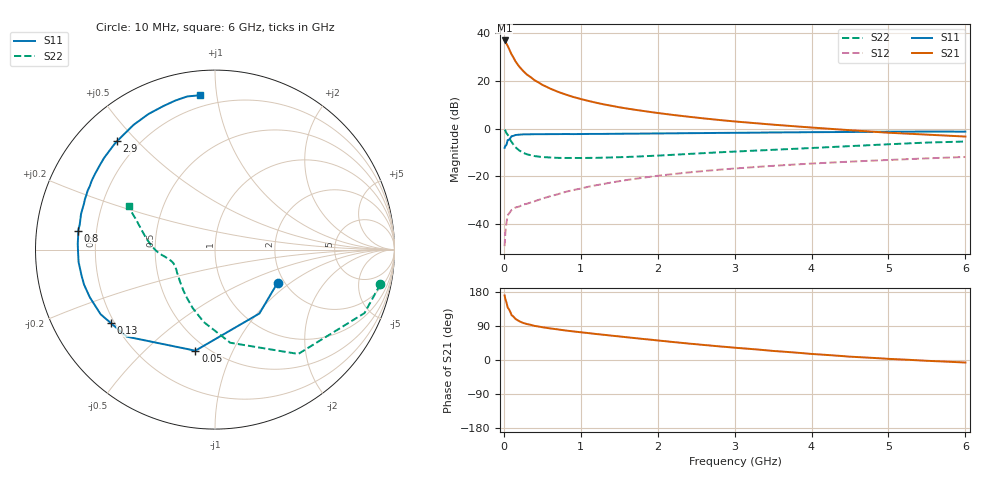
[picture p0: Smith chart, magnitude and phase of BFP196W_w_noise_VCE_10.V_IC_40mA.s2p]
! Infineon Technologies  Discrete & RF Semiconductors
! BFP196W
! VCE =  10. V,  IC =  40 mA
! Common Emitter S-Parameters:  Jan 2017
# GHz  S  MA  R  50
!  f  S11  S21  S12  S22
! GHz  MAG  ANG  MAG  ANG  MAG  ANG  MAG  ANG
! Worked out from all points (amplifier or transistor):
!   77 points, 10 MHz to 6 GHz, reference 50 ohm
!   highest |S21| = 37.0 dB at 10 MHz (marker M1)
!   |S21| within 3 dB of that: start of sweep to 60.37 MHz
!   unconditionally stable (mu >= 1): 812.3 MHz to 3.222 GHz
!   at 130 MHz: K = 0.35, MSG = 31.5 dB, |S12| = -33.6 dB
!   at 2.2 GHz: K = 1.04, MAG = 11.1 dB, |S12| = -19.1 dB
!   at 6 GHz: K = 0.92, MSG = 4.3 dB, |S12| = -11.9 dB
!   lowest NFmin = 1.24 dB at 450 MHz
!   S11 on the Smith chart (normalised r, x): 10 MHz: 1.84, -0.81; 50 MHz: 0.43, -0.73; 130 MHz: 0.19, -0.31; 800 MHz: 0.13, +0.07; 2.9 GHz: 0.12, +0.44; 6 GHz: 0.13, +0.90
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0.01  0.3945 -27.9  70.85 170.5  0.0034 75.7  0.9415 -11.8
0.02  0.4336 -55.2  67.95 160.7  0.0065 70.7  0.9048 -23.0
0.05  0.5738 -101.0  54.33 138.7  0.015 54.0  0.7439 -51.4
0.1  0.6908 -135.4  36.14 118.5  0.0195 43.6  0.5258 -80.7
0.13  0.7096 -144.7  29.95 113.4  0.021 40.8  0.4492 -90.5
0.15  0.732 -150.5  26.01 108.6  0.022 39.1  0.4077 -99.0
0.2  0.7464 -159.1  20.05 102.3  0.0231 39.6  0.3481 -111.0
0.25  0.7552 -165.0  16.26 97.9  0.0255 39.6  0.3111 -120.2
0.3  0.7575 -169.0  13.63 94.9  0.0264 42.5  0.2891 -127.3
0.4  0.7632 -174.8  10.35 90.0  0.0298 46.6  0.2648 -137.3
0.5  0.7631 -179.0  8.301 86.5  0.0338 50.1  0.2529 -143.9
0.6  0.7654 177.6  6.946 83.4  0.0379 51.9  0.2476 -148.6
0.7  0.7658 174.9  5.949 80.8  0.0418 55.1  0.2428 -152.3
0.8  0.7689 172.1  5.217 77.9  0.0468 56.8  0.2419 -154.7
1.1  0.7722 165.2  3.807 71.0  0.0602 58.7  0.2426 -160.1
1.5  0.7786 157.1  2.806 62.2  0.0786 59.2  0.251 -165.0
2.1  0.7927 145.6  2.029 49.6  0.1065 56.7  0.2762 -171.0
2.9  0.8134 132.1  1.463 34.3  0.1411 51.1  0.3234 -178.2
3.1  0.8172 129.1  1.369 30.9  0.1491 49.5  0.3349 179.8
4.1  0.8424 114.8  1.026 14.7  0.1879 41.8  0.3984 168.9
5.1  0.8606 103.9  0.804 2.1  0.2229 34.1  0.4763 158.6
6  0.8639 95.5  0.68 -6.7  0.2538 27.3  0.5352 153.1
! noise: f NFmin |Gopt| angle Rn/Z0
0.45  1.24  0.48  -179  0.06
0.9  1.39  0.54  -173  0.06
1.9  2.21  0.69  -150  0.14
2.4  2.61  0.73  -145  0.23
